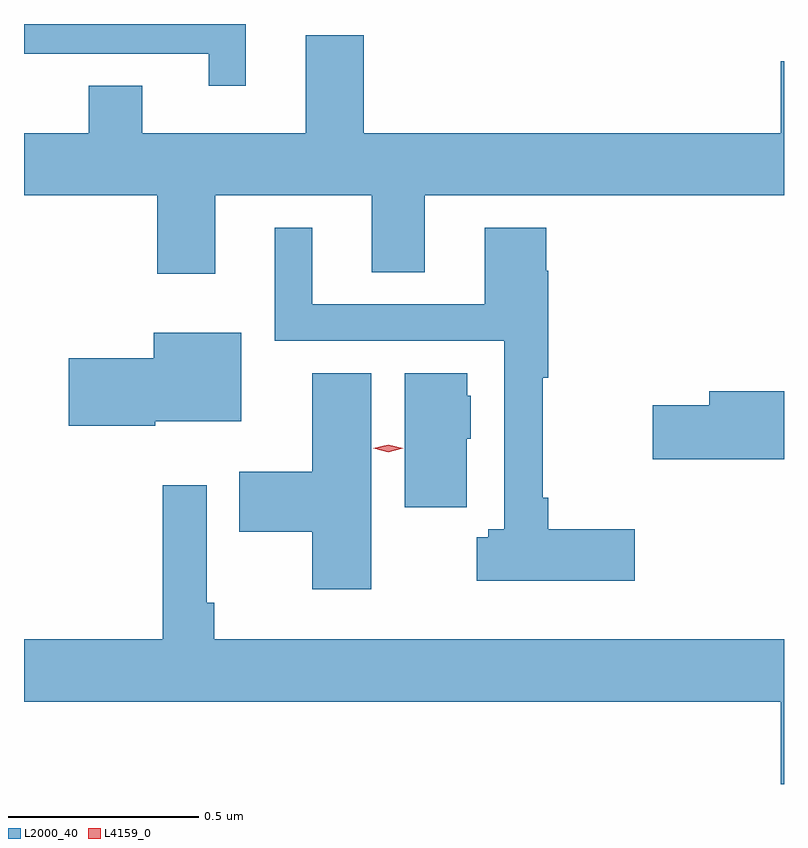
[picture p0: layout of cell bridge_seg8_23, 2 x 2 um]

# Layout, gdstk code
import gdstk
lib = gdstk.Library(unit=1e-6, precision=1e-09)
def P(c, l, *ps):  # polygons
    for p in ps: c.add(gdstk.Polygon(p, *l))
L2000_40 = (2000, 40)
L4159_0 = (4159, 0)

bridge_seg8_23 = lib.new_cell('bridge_seg8_23')
P(bridge_seg8_23, L2000_40, [(966.796,1144.923),(966.212,1144.923),(966.212,1144.845),(966.698,1144.845),(966.698,1144.761),(966.796,1144.761)],
  [(967.106,1144.894),(966.953,1144.894),(966.953,1144.636),(966.523,1144.636),(966.523,1144.76),(966.383,1144.76),(966.383,1144.636),(966.212,1144.636),(966.212,1144.472),(966.563,1144.472),(966.563,1144.266),(966.715,1144.266),(966.715,1144.472),(967.127,1144.472),(967.127,1144.27),(967.267,1144.27),(967.267,1144.472),(968.212,1144.472),(968.212,1144.825),(968.204,1144.825),(968.204,1144.636),(967.106,1144.636)],
  [(967.819,1143.593),(967.592,1143.593),(967.592,1143.676),(967.577,1143.676),(967.577,1143.992),(967.592,1143.992),(967.592,1144.274),(967.586,1144.274),(967.586,1144.387),(967.424,1144.387),(967.424,1144.185),(966.97,1144.185),(966.97,1144.387),(966.872,1144.387),(966.872,1144.089),(967.476,1144.089),(967.476,1143.593),(967.434,1143.593),(967.434,1143.572),(967.403,1143.572),(967.403,1143.458),(967.819,1143.458)],
  [(966.558,1143.878),(966.784,1143.878),(966.784,1144.111),(966.554,1144.111),(966.554,1144.044),(966.33,1144.044),(966.33,1143.866),(966.558,1143.866)],
  [(967.377,1143.831),(967.387,1143.831),(967.387,1143.945),(967.378,1143.945),(967.378,1144.004),(967.214,1144.004),(967.214,1143.651),(967.377,1143.651)],
  [(967.126,1144.004),(966.971,1144.004),(966.971,1143.745),(966.778,1143.745),(966.778,1143.587),(966.971,1143.587),(966.971,1143.435),(967.126,1143.435)],
  [(968.212,1143.956),(968.015,1143.956),(968.015,1143.92),(967.866,1143.92),(967.866,1143.778),(968.212,1143.778)],
  [(968.212,1143.304),(966.713,1143.304),(966.713,1143.4),(966.693,1143.4),(966.693,1143.709),(966.577,1143.709),(966.577,1143.304),(966.212,1143.304),(966.212,1143.14),(968.204,1143.14),(968.204,1142.923),(968.212,1142.923)])
P(bridge_seg8_23, L4159_0, [(967.17,1143.796),(967.131,1143.806),(967.131,1143.806),(967.131,1143.806),(967.17,1143.816),(967.21,1143.807),(967.21,1143.807),(967.21,1143.806)])

lib.write_gds('bridge_seg8_23.gds')
